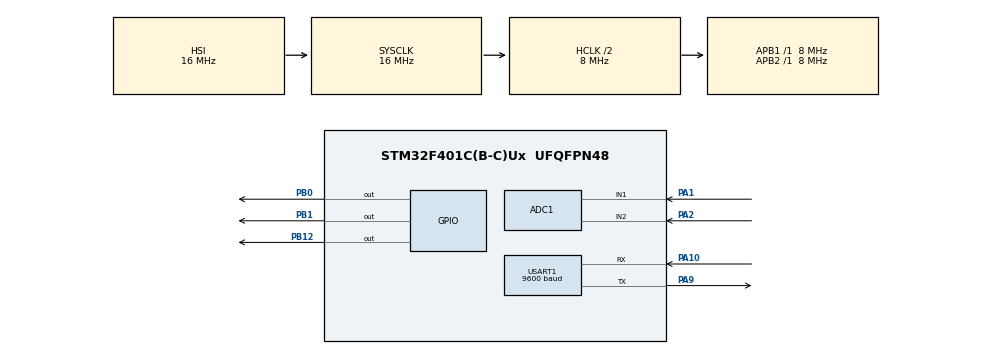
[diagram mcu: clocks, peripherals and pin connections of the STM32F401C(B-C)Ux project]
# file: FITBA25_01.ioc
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ADC1.Channel-0\#ChannelRegularConversion=ADC_CHANNEL_1
ADC1.NbrOfConversionFlag=1
ADC1.Rank-0\#ChannelRegularConversion=1
ADC1.SamplingTime-0\#ChannelRegularConversion=ADC_SAMPLETIME_3CYCLES
ADC1.master=1
Mcu.Family=STM32F4
Mcu.Name=STM32F401C(B-C)Ux
Mcu.Package=UFQFPN48
NVIC.PriorityGroup=NVIC_PRIORITYGROUP_4
NVIC.RTC_Alarm_IRQn=true\:0\:0\:false\:false\:true\:true\:true\:true
PA0-WKUP.Mode=SYS_WakeUp0
PA0-WKUP.Signal=SYS_WKUP
PA1.Signal=ADCx_IN1
PA10.Mode=Asynchronous
PA10.Signal=USART1_RX
PA13.Mode=Serial_Wire
PA13.Signal=SYS_JTMS-SWDIO
PA14.Mode=Serial_Wire
PA14.Signal=SYS_JTCK-SWCLK
PA2.Signal=ADCx_IN2
PA9.Mode=Asynchronous
PA9.Signal=USART1_TX
PB0.Signal=GPIO_Output
PB1.Signal=GPIO_Output
PB12.Signal=GPIO_Output
PC14-OSC32_IN.Mode=LSE-External-Oscillator
PC14-OSC32_IN.Signal=RCC_OSC32_IN
PC15-OSC32_OUT.Mode=LSE-External-Oscillator
PC15-OSC32_OUT.Signal=RCC_OSC32_OUT
ProjectManager.HeapSize=0x200
ProjectManager.StackSize=0x400
ProjectManager.TargetToolchain=STM32CubeIDE
RCC.48MHZClocksFreq_Value=48000000
RCC.AHBCLKDivider=RCC_SYSCLK_DIV2
RCC.AHBFreq_Value=8000000
RCC.APB1Freq_Value=8000000
RCC.APB1TimFreq_Value=8000000
RCC.APB2Freq_Value=8000000
RCC.APB2TimFreq_Value=8000000
RCC.CortexFreq_Value=8000000
RCC.HCLKFreq_Value=8000000
RCC.HSE_VALUE=25000000
RCC.HSI_VALUE=16000000
RCC.RCC_RTC_Clock_Source=RCC_RTCCLKSOURCE_LSE
RCC.RCC_RTC_Clock_SourceVirtual=RCC_RTCCLKSOURCE_LSE
RCC.SYSCLKFreq_VALUE=16000000
RCC.VCOOutputFreq_Value=192000000
RTC.Alarm=RTC_ALARM_A
RTC.Format=RTC_FORMAT_BIN
SH.ADCx_IN1.0=ADC1_IN1,IN1
SH.ADCx_IN2.0=ADC1_IN2,IN2
USART1.BaudRate=9600
USART1.VirtualMode=VM_ASYNC
VP_RTC_VS_RTC_Activate.Mode=RTC_Enabled
VP_RTC_VS_RTC_Alarm_A_Intern.Mode=Alarm A
VP_RTC_VS_RTC_Calendar.Mode=RTC_Calendar
board=custom

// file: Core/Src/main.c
/* USER CODE BEGIN Header */
/**
  ******************************************************************************
  * @file           : main.c
  * @brief          : Main program body
  ******************************************************************************
  * @attention
  *
  * Copyright (c) 2026 STMicroelectronics.
  * All rights reserved.
  *
  * This software is licensed under terms that can be found in the LICENSE file
  * in the root directory of this software component.
  * If no LICENSE file comes with this software, it is provided AS-IS.
  *
  ******************************************************************************
  */
/* USER CODE END Header */
#include "main.h"

ADC_HandleTypeDef hadc1;

RTC_HandleTypeDef hrtc;

UART_HandleTypeDef huart1;

void SystemClock_Config(void);
static void MX_GPIO_Init(void);
static void MX_ADC1_Init(void);
static void MX_RTC_Init(void);
static void MX_USART1_UART_Init(void);
/* USER CODE BEGIN PFP */

void set_time(uint8_t, uint8_t, uint8_t);
void set_date(uint8_t, uint8_t, uint8_t, uint8_t);
void get_time_date();

/* USER CODE END PFP */

/* USER CODE BEGIN 0 */

uint8_t last_hour, last_minute, last_second;

/* USER CODE END 0 */

int main(void)
{

  /* MCU Configuration--------------------------------------------------------*/

  /* Reset of all peripherals, Initializes the Flash interface and the Systick. */
  HAL_Init();

  /* Configure the system clock */
  SystemClock_Config();

  /* Initialize all configured peripherals */
  MX_GPIO_Init();
  MX_ADC1_Init();
  MX_RTC_Init();
  MX_USART1_UART_Init();
  /* USER CODE BEGIN 2 */

  // Habilitar acceso al Backup Domain (necesario para leer/escribir registros y RTC)
  HAL_PWR_EnableBkUpAccess();

  // Verificar si venimos del modo Standby (despertar intencional)
  if (__HAL_PWR_GET_FLAG(PWR_FLAG_SB) != RESET)
  {
	  // Limpiar el flag de Standby para la próxima vez
	  __HAL_PWR_CLEAR_FLAG(PWR_FLAG_SB);
	  // Limpiar el flag de WakeUp
	  __HAL_PWR_CLEAR_FLAG(PWR_FLAG_WU);

	  // BUZZER: 1 Biip largo (Soft reset / RTC) <---
	  HAL_GPIO_WritePin(GPIOB, GPIO_PIN_0, GPIO_PIN_SET);
	  HAL_Delay(400);
	  HAL_GPIO_WritePin(GPIOB, GPIO_PIN_0, GPIO_PIN_RESET);

	  // Leer la medida anterior del registro de backup 1
	  uint32_t last_adc_val = HAL_RTCEx_BKUPRead(&hrtc, RTC_BKP_DR1);
  }
  else
  {
	  // Venimos de un hard reset (desconexión de energía)

	  // BUZZER: 2 Bips cortos (Hard Reset)
	  HAL_GPIO_WritePin(GPIOB, GPIO_PIN_0, GPIO_PIN_SET); 	HAL_Delay(100);
	  HAL_GPIO_WritePin(GPIOB, GPIO_PIN_0, GPIO_PIN_RESET); HAL_Delay(100);
	  HAL_GPIO_WritePin(GPIOB, GPIO_PIN_0, GPIO_PIN_SET);	HAL_Delay(100);
	  HAL_GPIO_WritePin(GPIOB, GPIO_PIN_0, GPIO_PIN_RESET);

	  // Configurar el RTC por primera vez
	  set_time(14, 0, 0);
	  set_date(25, 9, 4, 17);
  }

  //// Medir el ADC (sensor)

  uint32_t adc_value = 0;

  // Iniciar conversión ADC
  HAL_ADC_Start(&hadc1);
  if (HAL_ADC_PollForConversion(&hadc1, 100) == HAL_OK) {
	  adc_value = HAL_ADC_GetValue(&hadc1);
  }
  HAL_ADC_Stop(&hadc1);

  // Guardar en el registro de Backup 1
  HAL_RTCEx_BKUPWrite(&hrtc, RTC_BKP_DR1, adc_value);

  //// Setear la nueva alarma

  RTC_TimeTypeDef sTime = {0};
  RTC_DateTypeDef sDate = {0};
  RTC_AlarmTypeDef sAlarm = {0};

  // 1. Obtener la hora y fecha actuales
  HAL_RTC_GetTime(&hrtc, &sTime, RTC_FORMAT_BIN);
  HAL_RTC_GetDate(&hrtc, &sDate, RTC_FORMAT_BIN);
  // es obligatorio leer la fecha después de la hora para desbloquear los registros shadow del RTC

  // 2. Configurar la alarma (1 minuto)
  sAlarm.AlarmTime.Seconds = sTime.Seconds;
  // Ignoramos el día, las horas y los minutos. Solo nos importa que coincida el segundero
  sAlarm.AlarmMask = RTC_ALARMMASK_DATEWEEKDAY | RTC_ALARMMASK_HOURS | RTC_ALARMMASK_MINUTES;
  sAlarm.AlarmSubSecondMask = RTC_ALARMSUBSECONDMASK_ALL;
  sAlarm.Alarm = RTC_ALARM_A;

  // 3. Activar la alarma con interrupción
  HAL_RTC_SetAlarm_IT(&hrtc, &sAlarm, RTC_FORMAT_BIN);

  // Limpiar el flag de Wakeup por si hubo algún evento espurio
  __HAL_PWR_CLEAR_FLAG(PWR_FLAG_WU);

  // Entrar al modo más profundo de sleep (Standby)
  HAL_PWR_EnterSTANDBYMode();

  // El código NUNCA va a llegar a esta línea. ////////////////////////////////////////////////////////////////
  // Al despertar, el micro se reinicia y vuelve al principio del main(). /////////////////////////////////////
  /////////////////////////////////////////////////////////////////////////////////////////////////////////////

  /* USER CODE END 2 */

  /* Infinite loop */
  while (1)
  {

  }
}

void SystemClock_Config(void)
{
  RCC_OscInitTypeDef RCC_OscInitStruct = {0};
  RCC_ClkInitTypeDef RCC_ClkInitStruct = {0};

  /** Configure the main internal regulator output voltage
  */
  __HAL_RCC_PWR_CLK_ENABLE();
  __HAL_PWR_VOLTAGESCALING_CONFIG(PWR_REGULATOR_VOLTAGE_SCALE2);

  /** Initializes the RCC Oscillators according to the specified parameters
  * in the RCC_OscInitTypeDef structure.
  */
  RCC_OscInitStruct.OscillatorType = RCC_OSCILLATORTYPE_HSI|RCC_OSCILLATORTYPE_LSE;
  RCC_OscInitStruct.LSEState = RCC_LSE_ON;
  RCC_OscInitStruct.HSIState = RCC_HSI_ON;
  RCC_OscInitStruct.HSICalibrationValue = RCC_HSICALIBRATION_DEFAULT;
  RCC_OscInitStruct.PLL.PLLState = RCC_PLL_NONE;
  if (HAL_RCC_OscConfig(&RCC_OscInitStruct) != HAL_OK)
  {
    Error_Handler();
  }

  /** Initializes the CPU, AHB and APB buses clocks
  */
  RCC_ClkInitStruct.ClockType = RCC_CLOCKTYPE_HCLK|RCC_CLOCKTYPE_SYSCLK
                              |RCC_CLOCKTYPE_PCLK1|RCC_CLOCKTYPE_PCLK2;
  RCC_ClkInitStruct.SYSCLKSource = RCC_SYSCLKSOURCE_HSI;
  RCC_ClkInitStruct.AHBCLKDivider = RCC_SYSCLK_DIV2;
  RCC_ClkInitStruct.APB1CLKDivider = RCC_HCLK_DIV1;
  RCC_ClkInitStruct.APB2CLKDivider = RCC_HCLK_DIV1;

  if (HAL_RCC_ClockConfig(&RCC_ClkInitStruct, FLASH_LATENCY_0) != HAL_OK)
  {
    Error_Handler();
  }
}

static void MX_ADC1_Init(void)
{

  ADC_ChannelConfTypeDef sConfig = {0};

  /** Configure the global features of the ADC (Clock, Resolution, Data Alignment and number of conversion)
  */
  hadc1.Instance = ADC1;
  hadc1.Init.ClockPrescaler = ADC_CLOCK_SYNC_PCLK_DIV2;
  hadc1.Init.Resolution = ADC_RESOLUTION_12B;
  hadc1.Init.ScanConvMode = DISABLE;
  hadc1.Init.ContinuousConvMode = DISABLE;
  hadc1.Init.DiscontinuousConvMode = DISABLE;
  hadc1.Init.ExternalTrigConvEdge = ADC_EXTERNALTRIGCONVEDGE_NONE;
  hadc1.Init.ExternalTrigConv = ADC_SOFTWARE_START;
  hadc1.Init.DataAlign = ADC_DATAALIGN_RIGHT;
  hadc1.Init.NbrOfConversion = 1;
  hadc1.Init.DMAContinuousRequests = DISABLE;
  hadc1.Init.EOCSelection = ADC_EOC_SINGLE_CONV;
  if (HAL_ADC_Init(&hadc1) != HAL_OK)
  {
    Error_Handler();
  }

  /** Configure for the selected ADC regular channel its corresponding rank in the sequencer and its sample time.
  */
  sConfig.Channel = ADC_CHANNEL_1;
  sConfig.Rank = 1;
  sConfig.SamplingTime = ADC_SAMPLETIME_3CYCLES;
  if (HAL_ADC_ConfigChannel(&hadc1, &sConfig) != HAL_OK)
  {
    Error_Handler();
  }

}

static void MX_RTC_Init(void)
{

  RTC_TimeTypeDef sTime = {0};
  RTC_DateTypeDef sDate = {0};
  RTC_AlarmTypeDef sAlarm = {0};

  /** Initialize RTC Only
  */
  hrtc.Instance = RTC;
  hrtc.Init.HourFormat = RTC_HOURFORMAT_24;
  hrtc.Init.AsynchPrediv = 127;
  hrtc.Init.SynchPrediv = 255;
  hrtc.Init.OutPut = RTC_OUTPUT_DISABLE;
  hrtc.Init.OutPutPolarity = RTC_OUTPUT_POLARITY_HIGH;
  hrtc.Init.OutPutType = RTC_OUTPUT_TYPE_OPENDRAIN;
  if (HAL_RTC_Init(&hrtc) != HAL_OK)
  {
    Error_Handler();
  }

  /* USER CODE BEGIN Check_RTC_BKUP */

  // elimino la inicialización en 0 para que no me arruine mi fecha establedica ante el wakeup
#if 0

  /* USER CODE END Check_RTC_BKUP */

  /** Initialize RTC and set the Time and Date
  */
  sTime.Hours = 0;
  sTime.Minutes = 0;
  sTime.Seconds = 0;
  sTime.DayLightSaving = RTC_DAYLIGHTSAVING_NONE;
  sTime.StoreOperation = RTC_STOREOPERATION_RESET;
  if (HAL_RTC_SetTime(&hrtc, &sTime, RTC_FORMAT_BIN) != HAL_OK)
  {
    Error_Handler();
  }
  sDate.WeekDay = RTC_WEEKDAY_MONDAY;
  sDate.Month = RTC_MONTH_JANUARY;
  sDate.Date = 1;
  sDate.Year = 0;

  if (HAL_RTC_SetDate(&hrtc, &sDate, RTC_FORMAT_BIN) != HAL_OK)
  {
    Error_Handler();
  }

  /** Enable the Alarm A
  */
  sAlarm.AlarmTime.Hours = 0;
  sAlarm.AlarmTime.Minutes = 0;
  sAlarm.AlarmTime.Seconds = 0;
  sAlarm.AlarmTime.SubSeconds = 0;
  sAlarm.AlarmTime.DayLightSaving = RTC_DAYLIGHTSAVING_NONE;
  sAlarm.AlarmTime.StoreOperation = RTC_STOREOPERATION_RESET;
  sAlarm.AlarmMask = RTC_ALARMMASK_NONE;
  sAlarm.AlarmSubSecondMask = RTC_ALARMSUBSECONDMASK_ALL;
  sAlarm.AlarmDateWeekDaySel = RTC_ALARMDATEWEEKDAYSEL_DATE;
  sAlarm.AlarmDateWeekDay = 1;
  sAlarm.Alarm = RTC_ALARM_A;
  if (HAL_RTC_SetAlarm_IT(&hrtc, &sAlarm, RTC_FORMAT_BIN) != HAL_OK)
  {
    Error_Handler();
  }
  /* USER CODE BEGIN RTC_Init 2 */
#endif
  /* USER CODE END RTC_Init 2 */

}

static void MX_USART1_UART_Init(void)
{

  huart1.Instance = USART1;
  huart1.Init.BaudRate = 9600;
  huart1.Init.WordLength = UART_WORDLENGTH_8B;
  huart1.Init.StopBits = UART_STOPBITS_1;
  huart1.Init.Parity = UART_PARITY_NONE;
  huart1.Init.Mode = UART_MODE_TX_RX;
  huart1.Init.HwFlowCtl = UART_HWCONTROL_NONE;
  huart1.Init.OverSampling = UART_OVERSAMPLING_16;
  if (HAL_UART_Init(&huart1) != HAL_OK)
  {
    Error_Handler();
  }

}

static void MX_GPIO_Init(void)
{
  GPIO_InitTypeDef GPIO_InitStruct = {0};

  /* GPIO Ports Clock Enable */
  __HAL_RCC_GPIOC_CLK_ENABLE();
  __HAL_RCC_GPIOA_CLK_ENABLE();
  __HAL_RCC_GPIOB_CLK_ENABLE();

  /*Configure GPIO pin Output Level */
  HAL_GPIO_WritePin(GPIOB, GPIO_PIN_0|GPIO_PIN_1|GPIO_PIN_12, GPIO_PIN_RESET);

  /*Configure GPIO pins : PB0 PB1 PB12 */
  GPIO_InitStruct.Pin = GPIO_PIN_0|GPIO_PIN_1|GPIO_PIN_12;
  GPIO_InitStruct.Mode = GPIO_MODE_OUTPUT_PP;
  GPIO_InitStruct.Pull = GPIO_NOPULL;
  GPIO_InitStruct.Speed = GPIO_SPEED_FREQ_LOW;
  HAL_GPIO_Init(GPIOB, &GPIO_InitStruct);

}

/* USER CODE BEGIN 4 */

void set_time(uint8_t hr, uint8_t min, uint8_t seg){
	RTC_TimeTypeDef sTime = {0};
	sTime.Hours = hr;
	sTime.Minutes = min;
	sTime.Seconds = seg;
	sTime.DayLightSaving = RTC_DAYLIGHTSAVING_NONE;
	sTime.StoreOperation = RTC_STOREOPERATION_RESET;

	if(HAL_RTC_SetTime(&hrtc, &sTime, RTC_FORMAT_BIN) != HAL_OK)
	{
		Error_Handler();
	}
}

void set_date(uint8_t year, uint8_t month, uint8_t date, uint8_t day){
	RTC_DateTypeDef sDate = {0};
	sDate.WeekDay = day;
	sDate.Month = month;
	sDate.Date = date;
	sDate.Year = year;

	if (HAL_RTC_SetDate(&hrtc, &sDate, RTC_FORMAT_BIN) != HAL_OK)
	{
		Error_Handler();
	}
}

void get_time_date()
{
  RTC_DateTypeDef gDate;
  RTC_TimeTypeDef gTime;

  /* Get the RTC current Time */
  HAL_RTC_GetTime(&hrtc, &gTime, RTC_FORMAT_BIN);
  /* Get the RTC current Date */
  HAL_RTC_GetDate(&hrtc, &gDate, RTC_FORMAT_BIN);

  last_hour = gTime.Hours;
  last_minute = gTime.Minutes;
  last_second = gTime.Seconds;

}

/* USER CODE END 4 */

void Error_Handler(void)
{
  __disable_irq();
  while (1)
  {
  }
}
